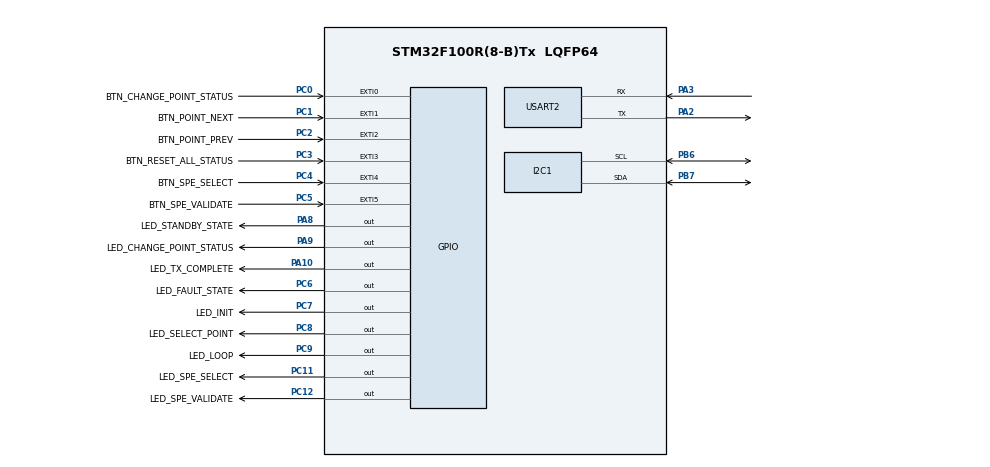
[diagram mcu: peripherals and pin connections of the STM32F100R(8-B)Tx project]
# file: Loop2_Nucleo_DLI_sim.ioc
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FREERTOS.INCLUDE_xQueueGetMutexHolder=0
FREERTOS.INCLUDE_xSemaphoreGetMutexHolder=0
FREERTOS.Tasks01=defaultTask,0,128,StartDefaultTask,Default,NULL,Dynamic,NULL,NULL;I2C_Task,-3,128,StartI2CTask,Default,NULL,Dynamic,NULL,NULL
FREERTOS.configUSE_COUNTING_SEMAPHORES=0
FREERTOS.configUSE_RECURSIVE_MUTEXES=0
I2C1.OwnAddress=0x08
Mcu.Family=STM32F1
Mcu.Name=STM32F100R(8-B)Tx
Mcu.Package=LQFP64
NVIC.EXTI0_IRQn=true\:5\:0\:false\:false\:true\:true\:true\:true\:true
NVIC.EXTI1_IRQn=true\:5\:0\:false\:false\:true\:true\:true\:true\:true
NVIC.EXTI2_IRQn=true\:5\:0\:false\:false\:true\:true\:true\:true\:true
NVIC.EXTI3_IRQn=true\:5\:0\:false\:false\:true\:true\:true\:true\:true
NVIC.EXTI4_IRQn=true\:5\:0\:false\:false\:true\:true\:true\:true\:true
NVIC.EXTI9_5_IRQn=true\:5\:0\:false\:false\:true\:true\:true\:true\:true
NVIC.I2C1_ER_IRQn=true\:5\:0\:false\:false\:true\:true\:true\:true\:true
NVIC.I2C1_EV_IRQn=true\:5\:0\:false\:false\:true\:true\:true\:true\:true
NVIC.PriorityGroup=NVIC_PRIORITYGROUP_4
PA10.GPIO_Label=LED_TX_COMPLETE
PA10.Signal=GPIO_Output
PA13.Mode=Serial_Wire
PA13.Signal=SYS_JTMS-SWDIO
PA14.Mode=Serial_Wire
PA14.Signal=SYS_JTCK-SWCLK
PA2.Mode=Asynchronous
PA2.Signal=USART2_TX
PA3.Mode=Asynchronous
PA3.Signal=USART2_RX
PA8.GPIO_Label=LED_STANDBY_STATE
PA8.Signal=GPIO_Output
PA9.GPIO_Label=LED_CHANGE_POINT_STATUS
PA9.Signal=GPIO_Output
PB6.Mode=I2C
PB6.Signal=I2C1_SCL
PB7.Mode=I2C
PB7.Signal=I2C1_SDA
PC0.GPIO_Label=BTN_CHANGE_POINT_STATUS
PC0.Signal=GPXTI0
PC1.GPIO_Label=BTN_POINT_NEXT
PC1.Signal=GPXTI1
PC11.GPIO_Label=LED_SPE_SELECT
PC11.Signal=GPIO_Output
PC12.GPIO_Label=LED_SPE_VALIDATE
PC12.Signal=GPIO_Output
PC2.GPIO_Label=BTN_POINT_PREV
PC2.Signal=GPXTI2
PC3.GPIO_Label=BTN_RESET_ALL_STATUS
PC3.Signal=GPXTI3
PC4.GPIO_Label=BTN_SPE_SELECT
PC4.Signal=GPXTI4
PC5.GPIO_Label=BTN_SPE_VALIDATE
PC5.Signal=GPXTI5
PC6.GPIO_Label=LED_FAULT_STATE
PC6.Signal=GPIO_Output
PC7.GPIO_Label=LED_INIT
PC7.Signal=GPIO_Output
PC8.GPIO_Label=LED_SELECT_POINT
PC8.Signal=GPIO_Output
PC9.GPIO_Label=LED_LOOP
PC9.Signal=GPIO_Output
ProjectManager.HeapSize=0x200
ProjectManager.StackSize=0x400
ProjectManager.TargetToolchain=STM32CubeIDE
RCC.APB1Freq_Value=8000000
RCC.APB2Freq_Value=8000000
USART2.VirtualMode=VM_ASYNC
VP_FREERTOS_VS_CMSIS_V1.Mode=CMSIS_V1
board=custom

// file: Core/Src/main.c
/* USER CODE BEGIN Header */
/**
  ******************************************************************************
  * @file           : main.c
  * @brief          : Main program body
  ******************************************************************************
  * @attention
  *
  * Copyright (c) 2026 STMicroelectronics.
  * All rights reserved.
  *
  * This software is licensed under terms that can be found in the LICENSE file
  * in the root directory of this software component.
  * If no LICENSE file comes with this software, it is provided AS-IS.
  *
  ******************************************************************************
  */
/* USER CODE END Header */
#include "main.h"
#include "cmsis_os.h"

I2C_HandleTypeDef hi2c1;

UART_HandleTypeDef huart2;

osThreadId defaultTaskHandle;

void SystemClock_Config(void);
static void MX_GPIO_Init(void);
static void MX_I2C1_Init(void);
static void MX_USART2_UART_Init(void);
void StartDefaultTask(void const * argument);

int main(void)
{

  /* MCU Configuration--------------------------------------------------------*/

  /* Reset of all peripherals, Initializes the Flash interface and the Systick. */
  HAL_Init();

  /* Configure the system clock */
  SystemClock_Config();

  /* Initialize all configured peripherals */
  MX_GPIO_Init();
  MX_I2C1_Init();
  MX_USART2_UART_Init();

  /* Create the thread(s) */
  /* definition and creation of defaultTask */
  osThreadDef(defaultTask, StartDefaultTask, osPriorityNormal, 0, 128);
  defaultTaskHandle = osThreadCreate(osThread(defaultTask), NULL);

  /* Start scheduler */
  osKernelStart();

  /* We should never get here as control is now taken by the scheduler */

  /* Infinite loop */
  while (1)
  {

  }
}

void SystemClock_Config(void)
{
  RCC_OscInitTypeDef RCC_OscInitStruct = {0};
  RCC_ClkInitTypeDef RCC_ClkInitStruct = {0};

  /** Initializes the RCC Oscillators according to the specified parameters
  * in the RCC_OscInitTypeDef structure.
  */
  RCC_OscInitStruct.OscillatorType = RCC_OSCILLATORTYPE_HSI;
  RCC_OscInitStruct.HSIState = RCC_HSI_ON;
  RCC_OscInitStruct.HSICalibrationValue = RCC_HSICALIBRATION_DEFAULT;
  RCC_OscInitStruct.PLL.PLLState = RCC_PLL_NONE;
  if (HAL_RCC_OscConfig(&RCC_OscInitStruct) != HAL_OK)
  {
    Error_Handler();
  }

  /** Initializes the CPU, AHB and APB buses clocks
  */
  RCC_ClkInitStruct.ClockType = RCC_CLOCKTYPE_HCLK|RCC_CLOCKTYPE_SYSCLK
                              |RCC_CLOCKTYPE_PCLK1|RCC_CLOCKTYPE_PCLK2;
  RCC_ClkInitStruct.SYSCLKSource = RCC_SYSCLKSOURCE_HSI;
  RCC_ClkInitStruct.AHBCLKDivider = RCC_SYSCLK_DIV1;
  RCC_ClkInitStruct.APB1CLKDivider = RCC_HCLK_DIV1;
  RCC_ClkInitStruct.APB2CLKDivider = RCC_HCLK_DIV1;

  if (HAL_RCC_ClockConfig(&RCC_ClkInitStruct, FLASH_LATENCY_0) != HAL_OK)
  {
    Error_Handler();
  }
}

static void MX_I2C1_Init(void)
{

  hi2c1.Instance = I2C1;
  hi2c1.Init.ClockSpeed = 100000;
  hi2c1.Init.DutyCycle = I2C_DUTYCYCLE_2;
  hi2c1.Init.OwnAddress1 = 0;
  hi2c1.Init.AddressingMode = I2C_ADDRESSINGMODE_7BIT;
  hi2c1.Init.DualAddressMode = I2C_DUALADDRESS_DISABLE;
  hi2c1.Init.OwnAddress2 = 0;
  hi2c1.Init.GeneralCallMode = I2C_GENERALCALL_DISABLE;
  hi2c1.Init.NoStretchMode = I2C_NOSTRETCH_DISABLE;
  if (HAL_I2C_Init(&hi2c1) != HAL_OK)
  {
    Error_Handler();
  }

}

static void MX_USART2_UART_Init(void)
{

  huart2.Instance = USART2;
  huart2.Init.BaudRate = 115200;
  huart2.Init.WordLength = UART_WORDLENGTH_8B;
  huart2.Init.StopBits = UART_STOPBITS_1;
  huart2.Init.Parity = UART_PARITY_NONE;
  huart2.Init.Mode = UART_MODE_TX_RX;
  huart2.Init.HwFlowCtl = UART_HWCONTROL_NONE;
  huart2.Init.OverSampling = UART_OVERSAMPLING_16;
  if (HAL_UART_Init(&huart2) != HAL_OK)
  {
    Error_Handler();
  }

}

static void MX_GPIO_Init(void)
{
  GPIO_InitTypeDef GPIO_InitStruct = {0};

  /* GPIO Ports Clock Enable */
  __HAL_RCC_GPIOC_CLK_ENABLE();
  __HAL_RCC_GPIOA_CLK_ENABLE();
  __HAL_RCC_GPIOB_CLK_ENABLE();

  /*Configure GPIO pin Output Level */
  HAL_GPIO_WritePin(GPIOC, LED_FAULT_STATE_Pin|LED_SELECT_POINT_Pin|LED_STANDBY_STATE_Pin|LED_TX_COMPLETE_Pin, GPIO_PIN_RESET);

  /*Configure GPIO pins : BTN_CHANGE_POINT_STATUS_Pin BTN_POINT_NEXT_Pin BTN_POINT_PREV_Pin BTN_RESET_ALL_STATUS_Pin
                           BTN_SPE_SELECT_Pin BTN_SPE_VALIDATE_Pin */
  GPIO_InitStruct.Pin = BTN_CHANGE_POINT_STATUS_Pin|BTN_POINT_NEXT_Pin|BTN_POINT_PREV_Pin|BTN_RESET_ALL_STATUS_Pin
                          |BTN_SPE_SELECT_Pin|BTN_SPE_VALIDATE_Pin;
  GPIO_InitStruct.Mode = GPIO_MODE_IT_RISING;
  GPIO_InitStruct.Pull = GPIO_NOPULL;
  HAL_GPIO_Init(GPIOC, &GPIO_InitStruct);

  /*Configure GPIO pins : LED_FAULT_STATE_Pin LED_SELECT_POINT_Pin LED_STANDBY_STATE_Pin LED_TX_COMPLETE_Pin */
  GPIO_InitStruct.Pin = LED_FAULT_STATE_Pin|LED_SELECT_POINT_Pin|LED_STANDBY_STATE_Pin|LED_TX_COMPLETE_Pin;
  GPIO_InitStruct.Mode = GPIO_MODE_OUTPUT_PP;
  GPIO_InitStruct.Pull = GPIO_NOPULL;
  GPIO_InitStruct.Speed = GPIO_SPEED_FREQ_LOW;
  HAL_GPIO_Init(GPIOC, &GPIO_InitStruct);

}

void StartDefaultTask(void const * argument)
{
  for(;;)
  {
    osDelay(1);
  }
}

void Error_Handler(void)
{
  __disable_irq();
  while (1)
  {
  }
}

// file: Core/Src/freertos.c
/* USER CODE BEGIN Header */
/**
  ******************************************************************************
  * File Name          : freertos.c
  * Description        : Code for freertos applications
  ******************************************************************************
  * @attention
  *
  * Copyright (c) 2026 STMicroelectronics.
  * All rights reserved.
  *
  * This software is licensed under terms that can be found in the LICENSE file
  * in the root directory of this software component.
  * If no LICENSE file comes with this software, it is provided AS-IS.
  *
  ******************************************************************************
  */
/* USER CODE END Header */

#include "FreeRTOS.h"
#include "task.h"
#include "main.h"
#include "cmsis_os.h"

/* USER CODE BEGIN Includes */

#include "i2c.h"
#include "functions.h"
#include "task.h"
#include "sensor_message.h"
#include "generated_points.h"

/* USER CODE END Includes */

/* USER CODE BEGIN PD */
#define USE_UART_PRINTF

/* USER CODE END PD */

/* USER CODE BEGIN Variables */
TaskHandle_t xDefaultTaskHandle;
TaskHandle_t xLedTaskHandle;
TaskHandle_t xI2C_TaskHandle;
/* USER CODE END Variables */
osThreadId defaultTaskHandle;
osThreadId I2C_TaskHandle;

void StartDefaultTask(void const * argument);
void StartI2CTask(void const * argument);

void MX_FREERTOS_Init(void); /* (MISRA C 2004 rule 8.1) */

/* GetIdleTaskMemory prototype (linked to static allocation support) */
void vApplicationGetIdleTaskMemory( StaticTask_t **ppxIdleTaskTCBBuffer, StackType_t **ppxIdleTaskStackBuffer, uint32_t *pulIdleTaskStackSize );

/* USER CODE BEGIN GET_IDLE_TASK_MEMORY */
static StaticTask_t xIdleTaskTCBBuffer;
static StackType_t xIdleStack[configMINIMAL_STACK_SIZE];

void vApplicationGetIdleTaskMemory( StaticTask_t **ppxIdleTaskTCBBuffer, StackType_t **ppxIdleTaskStackBuffer, uint32_t *pulIdleTaskStackSize )
{
  *ppxIdleTaskTCBBuffer = &xIdleTaskTCBBuffer;
  *ppxIdleTaskStackBuffer = &xIdleStack[0];
  *pulIdleTaskStackSize = configMINIMAL_STACK_SIZE;
  /* place for user code */
}
/* USER CODE END GET_IDLE_TASK_MEMORY */

void MX_FREERTOS_Init(void) {

  /* Create the thread(s) */
  /* definition and creation of defaultTask */
  osThreadDef(defaultTask, StartDefaultTask, osPriorityNormal, 0, 128);
  defaultTaskHandle = osThreadCreate(osThread(defaultTask), NULL);

  /* definition and creation of I2C_Task */
  osThreadDef(I2C_Task, StartI2CTask, osPriorityIdle, 0, 128);
  I2C_TaskHandle = osThreadCreate(osThread(I2C_Task), NULL);

  /* USER CODE BEGIN RTOS_THREADS */
  /* add threads, ... */
//  xI2C_TaskHandle = (TaskHandle_t)I2C_TaskHandle;
  xI2C_TaskHandle = (TaskHandle_t)I2C_TaskHandle;

  /* USER CODE END RTOS_THREADS */

}

void StartDefaultTask(void const * argument)
{
  /* USER CODE BEGIN StartDefaultTask */
  /* Infinite loop */
  for(;;)
  {

	    // Process I2C error recovery only (RX/TX are handled in I2C task via notifications)
	    if (i2c_err_flag)
	    {
	      i2c_err_flag = 0;
	      /*uart_printf("I2C: ERROR detected, code=0x%08lX - reinitializing I2C\r\n", i2c_last_error);*/

	      // Deinit and re-init the peripheral (do heavy work in main context)
	      if (HAL_I2C_DeInit(&hi2c1) != HAL_OK)
	      {
	        /*uart_printf("I2C: DeInit failed\r\n");*/
	      }
	      // Reconfigure/Init peripheral using the generated init routine
	      MX_I2C1_Init();

	      // Re-arm TX and RX
	      HAL_I2C_Slave_Transmit_IT(&hi2c1, (uint8_t *)buffer_tx, 3);
	      HAL_I2C_Slave_Receive_IT(&hi2c1, rxCmd, 2);

	      /*uart_printf("I2C: Re-armed TX and RX after error\r\n");*/
	    }
		osDelay(10);

  }
  /* USER CODE END StartDefaultTask */
}

void StartI2CTask(void const * argument)
{
  /* USER CODE BEGIN StartI2CTask */
  /* Infinite loop */
  for(;;)
  {

	  uint32_t ev =0; //changer de place plus tard dans le bon dossier

	  	  xTaskNotifyWait(0, 0xFFFFFFFFu, &ev, portMAX_DELAY); // wait indefinitely for notification

	  	  if((ev & I2C_EVENT_RX_COMPLETE) == I2C_EVENT_RX_COMPLETE)
	  	  {

	  		uint8_t cmd = rxCmd[0];
	  		switch(cmd)
	  		{
	  		    case COMMAND_PRE_ALARM_CONFIRMATION: // 0x2C
	  		        break;

	  		    case COMMAND_ALARM_CONFIRMATION_1: // 0x2E
	  		        break;

	  		    case COMMAND_ALARM_CONFIRMATION_2: // 0x40
	  		        break;

	  		    case COMMAND_ADDRESS_DISABLED: // 0x80
	  		        break;

	  		    case COMMAND_SWITCH_OFF_LIMIT_LINE: // 0x81
	  		        break;

	  		    case COMMAND_SWITCH_ON_LIMIT_LINE: // 0x82
	  		        break;

	  		    case COMMAND_RESET_ALARM_LINE: // 0x91
//	  		        // Reset all points to standby
//	  		        for (uint16_t i = 0; i < generated_points_count; i++)
//	  		        {
//	  		            generated_points[i].b2 = 0x22;  // STATE_STANDBY
//	  		        }
//	  		        current_tx_index = 0;
//	  		        selected_point_index = 0;
	  		        break;

	  		    case COMMAND_RESET_GROUP_ALARM: // 0x92
	  		        // Reset all points to standby
//	  		        for (uint16_t i = 0; i < generated_points_count; i++)
//	  		        {
//	  		            generated_points[i].b2 = 0x22;  // STATE_STANDBY
//	  		        }
//	  		        current_tx_index = 0;
//	  		        selected_point_index = 0;
	  		        break;

	  		    case COMMAND_RESET_SIGNALLING_UNIT: // 0x93
	  		        break;

	  		    case COMMAND_GROUP_RESET_LIMIT_CARD: // 0x94
	  		        break;

	  		    case COMMAND_SENSITIVITY_LEVEL_1_NO_FLASH: // 0x97
	  		        break;

	  		    case COMMAND_SENSITIVITY_LEVEL_2_NO_FLASH: // 0x98
	  		        break;

	  		    case COMMAND_SENSITIVITY_LEVEL_3_NO_FLASH: // 0x99
	  		        break;

	  		    case COMMAND_SENSITIVITY_LEVEL_4_NO_FLASH: // 0x9A
	  		        break;

	  		    case COMMAND_SENSITIVITY_LEVEL_5_NO_FLASH: // 0x9B
	  		        break;

	  		    case COMMAND_READ_ADDRESS_INSPECTION_DATE: // 0x9C
	  		        break;

	  		    case COMMAND_SET_INSPECTION_DATE: // 0x9D
	  		        break;

	  		    case COMMAND_ACTIVATE_RELAY: // 0xA1
	  		        break;

	  		    case COMMAND_RESET_RELAY: // 0xA7
	  		        break;

	  		    case COMMAND_DETECTOR_TEST: // 0xB1
	  		        break;

	  		    case COMMAND_READ_MANUFACTURE_DATE: // 0xB4
	  		        break;

	  		    case COMMAND_READ_CONTAMINATION: // 0xB5
	  		        break;

	  		    case COMMAND_READ_SENSITIVITY: // 0xB6
	  		        break;

	  		    case COMMAND_READ_INSPECTION_DATE: // 0xB7
	  		        break;

	  		    case COMMAND_MULTI_READ_MANUFACTURE_DATE: // 0xB8
	  		        break;

	  		    case COMMAND_MULTI_READ_CONTAMINATION: // 0xB9
	  		        break;

	  		    case COMMAND_MULTI_READ_SENSITIVITY: // 0xBA
	  		        break;

	  		    case COMMAND_MULTI_READ_INSPECTION_DATE: // 0xBB
	  		        break;

	  		    case COMMAND_MULTI_READ_END: // 0xBC
	  		        break;

	  		    case COMMAND_IMPORT_DETECTOR: // 0xC0
	  		        step = step_init;
	  		        current_tx_index = 0;
	  		        buffer_tx = get_generated_point_to_send(current_tx_index);
	  		        HAL_I2C_Slave_Transmit_IT(&hi2c1, (uint8_t *)buffer_tx, 3);
//	  		        HAL_GPIO_WritePin(LED_INIT_GPIO_Port, LED_INIT_Pin, GPIO_PIN_SET); // indicate import started
	  		        break;

	  		    case COMMAND_EXPLOSION_LIMIT_LINE_OFF: // 0xD0
	  		        break;

	  		    case COMMAND_EXPLOSION_LIMIT_LINE_ON: // 0xD1
	  		        break;

	  		    case COMMAND_SENSITIVITY_LEVEL_1_FLASH: // 0xD7
	  		        break;

	  		    case COMMAND_SENSITIVITY_LEVEL_2_FLASH: // 0xD8
	  		        break;

	  		    case COMMAND_SENSITIVITY_LEVEL_3_FLASH: // 0xD9
	  		        break;

	  		    case COMMAND_SENSITIVITY_LEVEL_4_FLASH: // 0xDA
	  		        break;

	  		    case COMMAND_SENSITIVITY_LEVEL_5_FLASH: // 0xDB
	  		        break;

	  		    case COMMAND_ALARM_OUTPUT_OFF: // 0xE0
	  		        break;

	  		    case COMMAND_ALARM_OUTPUT_ON: // 0xE1
	  		        break;

	  		    case COMMAND_ICHECK: // 0xFE
	  		        break;

	  		    default:
	  		        break;
	  		}

	  	  }

	  	if ((ev & I2C_EVENT_TX_COMPLETE) == I2C_EVENT_TX_COMPLETE)
	  	{
	  	    // Check if a special message is pending
	  	    if (special_message_pending)
	  	    {
	  	        // Send the special message (already copied to tx_0)
	  	        buffer_tx = &tx_0;
	  	        special_message_pending = 0; // Clear flag after sending once
	  	    }
	  	    else
	  	    {
	  	        // Continue with normal generated_points cycle
	  	        current_tx_index++;
	  	        if (current_tx_index >= generated_points_count)
	  	        {
	  	            current_tx_index = 1; // restart from first real point, not 0x00 0x00 0x00
	  	        }
	  	        buffer_tx = get_generated_point_to_send(current_tx_index);
	  	    }

	  	    if (step == step_init)
	  	    {
	  	    	HAL_GPIO_WritePin(LED_INIT_GPIO_Port, LED_INIT_Pin, GPIO_PIN_RESET); // indicate import completed
	  	    	HAL_GPIO_WritePin(LED_LOOP_GPIO_Port, LED_LOOP_Pin, GPIO_PIN_SET); // indicate loop mode started
	  	        osDelay(1000); // brief delay for visual feedback
	  	        step = step_loop;
	  	    }

	  	    //allumer la LED init a chaque fin de trasmission FE FE FE pour indiquer que la boucle est terminée et que le buffer_tx est de nouveau prêt à être utilisé pour un message spécial
	  	    if (buffer_tx == &buffer_tx_end)
	  	    {
	  	        HAL_GPIO_WritePin(LED_INIT_GPIO_Port, LED_INIT_Pin, GPIO_PIN_SET); // indicate loop completed and ready for special message
	  	    }
	  	    HAL_I2C_Slave_Transmit_IT(&hi2c1, (uint8_t *)buffer_tx, 3);

	  	    HAL_GPIO_TogglePin(LED_TX_COMPLETE_GPIO_Port, LED_TX_COMPLETE_Pin); // Toggle an LED to indicate TX complete

	  	}

	  	if ((ev & EVENT_BTN_SPECIAL_SEL) == EVENT_BTN_SPECIAL_SEL)
	  		  	{
	  		  	    // Cycle through available points
	  		  		selected_special_message_index++;
	  		  	    if (selected_special_message_index >= SPECIAL_MESSAGE_MAX)
	  		  	    {
	  		  	   	 selected_special_message_index = SPECIAL_MESSAGE_NONE; // wrap around to "none" state
	  		  	    }

	  		  	    // Visual feedback: LED indicates selection mode
	  		  	    HAL_GPIO_WritePin(LED_SPE_SELECT_GPIO_Port, LED_SPE_SELECT_Pin, GPIO_PIN_SET);
	  		  	    HAL_GPIO_WritePin(LED_SPE_VALIDATE_GPIO_Port, LED_SPE_VALIDATE_Pin, GPIO_PIN_RESET);

	  		  	}

	  	if (ev & EVENT_BTN_SPECIAL_VAL)
	  	{
	  		if (selected_special_message_index > SPECIAL_MESSAGE_NONE &&
	  	        selected_special_message_index < SPECIAL_MESSAGE_MAX)
	  	    {
	  			int index = selected_special_message_index - 1; // adjust index to account for SPECIAL_MESSAGE_NONE at 0
	  			tx_0.address = special_messages[index].address;
	  			tx_0.type = special_messages[index].type;
	  			tx_0.status = special_messages[index].status;

	  			// Set flag to send special message on I2C_EVENT_TX_COMPLETE
	  			special_message_pending = 1;

	  	        HAL_GPIO_WritePin(LED_SPE_VALIDATE_GPIO_Port, LED_SPE_VALIDATE_Pin, GPIO_PIN_SET); // indicate special message selected
	  	        HAL_GPIO_WritePin(LED_SPE_SELECT_GPIO_Port, LED_SPE_SELECT_Pin, GPIO_PIN_RESET); // exit selection mode

	  	    }

	  	    selected_special_message_index = SPECIAL_MESSAGE_NONE; // reset selection after validation

#ifdef USE_UART_PRINTF
	  	    uart_printf("Special message validated: index %d | [%02X %02X %02X]\r\n",
	  	        selected_special_message_index,
	  	        tx_0.address,
	  	        tx_0.type,
	  	        tx_0.status
	  	    );
	  	    #endif

	  	}

	  	if ((ev & EVENT_BTN_NEXT) == EVENT_BTN_NEXT)
	  	{
	  	    if (selected_point_index >= GENERATED_POINTS_MAX - 1)
	  	    {
	  	        selected_point_index = GENERATED_POINT_NONE + 1;
	  	    }
	  	    else
	  	    {
		  	    selected_point_index++;
	  	    }
//  	        HAL_GPIO_WritePin(LED_CHANGE_POINT_STATUS_GPIO_Port, LED_CHANGE_POINT_STATUS_Pin, GPIO_PIN_SET);

	  	    update_selected_point_leds();

#ifdef USE_UART_PRINTF
	  	    uart_printf("current point index: %d\r\n", selected_point_index);
	  	   #endif

	  	}
	  	if ((ev & EVENT_BTN_PREV) == EVENT_BTN_PREV)
	  	{
	  	    if (selected_point_index <= GENERATED_POINT_NONE + 1)
	  	    {
	  	        selected_point_index = GENERATED_POINTS_MAX - 1;
	  	    }
	  	    else
	  	    {
	  	        selected_point_index--;
	  	    }

	  	    HAL_GPIO_WritePin(LED_CHANGE_POINT_STATUS_GPIO_Port, LED_CHANGE_POINT_STATUS_Pin, GPIO_PIN_SET);
	  	    update_selected_point_leds();

#ifdef USE_UART_PRINTF
	  	    uart_printf("current point index: %d\r\n", selected_point_index);
	  	    #endif

	  	}
	  	if ((ev & EVENT_BTN_CHANGE_STATUS) == EVENT_BTN_CHANGE_STATUS)
	  	{
	  	    if ((selected_point_index > GENERATED_POINT_NONE) &&
	  	        (selected_point_index < GENERATED_POINTS_MAX))
	  	    {
	  	        if (generated_points[selected_point_index].status == STATE_STANDBY)
	  	        {
	  	            generated_points[selected_point_index].status = STATE_FAULT;
	  	        }
	  	        else
	  	        {
	  	            generated_points[selected_point_index].status = STATE_STANDBY;
	  	        }

#ifdef USE_UART_PRINTF
uart_printf("curent point index: %d, new status: 0x%02X\r\n", selected_point_index, generated_points[selected_point_index].status);
#endif
	  	        HAL_GPIO_WritePin(LED_CHANGE_POINT_STATUS_GPIO_Port, LED_CHANGE_POINT_STATUS_Pin, GPIO_PIN_SET);
	  	        update_selected_point_leds();
	  	    }

	  	}

	  	if ((ev & EVENT_BTN_RESET_ALL_STATUS) == EVENT_BTN_RESET_ALL_STATUS)
	  	{
	  		for (uint8_t i = 1; i < generated_points_count - 1; i++)
	  		{
	  		    if (generated_points[i].status != STATE_STANDBY)
	  		    {
	  		        generated_points[i].status = STATE_STANDBY;
	  		    }
	  		}
	  		// Mettre à jour l'affichage des LEDs pour le point sélectionné
	  		update_selected_point_leds();
	  	}

    osDelay(1);
  }
  /* USER CODE END StartI2CTask */
}
